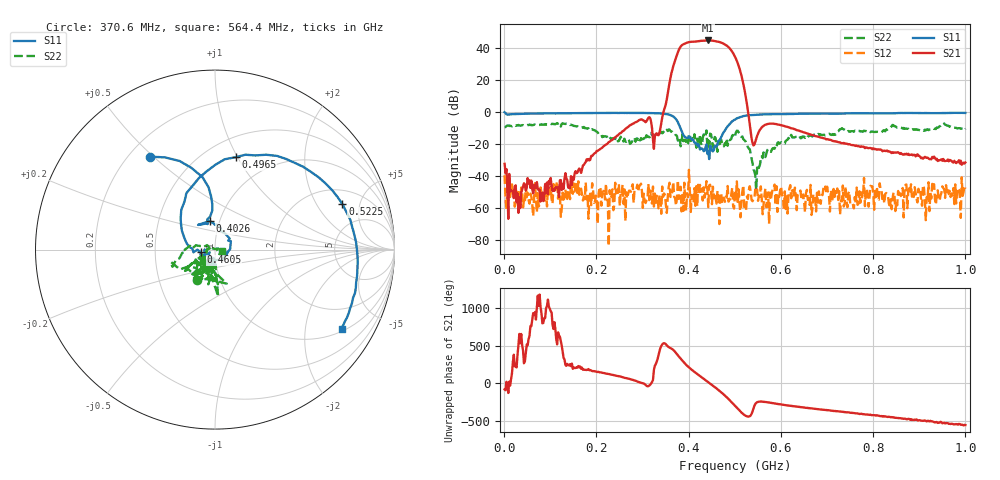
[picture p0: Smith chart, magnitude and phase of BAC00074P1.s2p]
!measured: 2026-10-27T15:26:47
!cal_instance: BBtestOct27
!cal_created: 2026-10-27T14:45
!cal_file: BBtesting.cal
!port1_delay_ps: -58.63
!port2_delay_ps: -59.31
!host: dhcp-10-250-247-203.harvard.edu
! Created with skrf 2.1.0 (http://scikit-rf.org).
# Hz S RI R 50.0
!freq ReS11 ImS11 ReS21 ImS21 ReS12 ImS12 ReS22 ImS22
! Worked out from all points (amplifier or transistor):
!   501 points, 1 MHz to 1 GHz, reference 50 ohm
!   highest |S21| = 44.7 dB at 442.6 MHz (marker M1)
!   |S21| within 3 dB of that: 385.3 MHz to 481.4 MHz (96.05 MHz wide, 22.2 % of centre)
!   unconditionally stable (mu >= 1): start of sweep to 376.5 MHz; 401.8 MHz to 424.5 MHz; 447 MHz to end of sweep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
!   at 166.8 MHz: K = 1667.98, MAG = -30.3 dB, |S12| = -48.1 dB
!   at 500.5 MHz: K = 1.83, MAG = 36.5 dB, |S12| = -49.2 dB
!   at 1 GHz: K = 667.91, MAG = -23.1 dB, |S12| = -48.1 dB
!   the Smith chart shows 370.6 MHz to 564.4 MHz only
!   S11 on the Smith chart (normalised r, x): 370.6 MHz: 0.28, +0.49; 402.6 MHz: 0.90, +0.29; 460.5 MHz: 0.85, -0.03; 496.5 MHz: 0.69, +0.98; 522.5 MHz: 2.91, +3.42; 564.4 MHz: 1.09, -3.13
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1000000  -0.3523 0.9044  0.0043 -0.0232  0.00241 0.0101  0.331 -0.00152
1.68832e8  0.4971 -0.7595  -0.0136 -0.00786  0.00202 0.00148  -0.031 -0.3231
3.34666e8  -0.8361 -0.3351  0.1776 0.0504  -0.00041 -0.000853  0.0283 -0.2083
3.7063e8  -0.3643 0.5179  19.35 35.97  -0.00156 -0.0012  -0.1022 -0.1674
3.84616e8  -0.0148 0.2512  86.22 -82.21  0.000715 -0.000263  -0.0919 -0.0488
3.92608e8  -0.043 0.1521  -20.54 -137.1  -7.51e-05 0.00138  -0.102 -0.0633
4.02598e8  -0.0293 0.1595  -141.2 -60.93  0.00292 0.00144  -0.1333 -0.1453
4.12588e8  0.0328 0.1034  -140.7 70.09  -0.00393 0.00109  -0.0373 -0.1937
4.24576e8  0.0592 -0.0294  -23.26 164  0.000197 -0.00514  0.0165 -0.1933
4.42558e8  -0.0376 -0.0389  164.3 49.08  -0.000546 -0.000879  -0.0814 -0.1
4.5055e8  -0.0573 -0.0237  159.1 -58.29  0.00105 -0.000726  -0.0631 -0.1239
4.6054e8  -0.0793 -0.0154  61.79 -148.2  -0.00021 -0.00132  -0.0161 -0.0819
4.68532e8  -0.1399 0.0122  -44.76 -143.5  -0.0027 -6.32e-05  -0.0362 -0.1242
4.78522e8  -0.1914 0.1749  -121.6 -41.93  -0.00148 -0.000329  -0.0191 -0.1023
4.88512e8  -0.0894 0.3989  -74.88 64.35  -0.000408 -0.00186  -0.0536 -0.118
4.96504e8  0.1148 0.5147  1.91 68.17  0.000593 -0.000928  -0.1475 -0.1098
5.005e8  0.2238 0.5246  24.7 46.8  0.000994 -0.00333  -0.1461 -0.093
5.22478e8  0.7099 0.2534  1.465 -3.542  -0.0009 -0.000627  -0.1237 0.00856
5.64436e8  0.7053 -0.4418  -0.1574 0.3471  -0.00215 0.0012  0.0404 -0.0102
6.68332e8  0.0635 -0.8776  0.1687 0.0792  -0.000823 -0.000393  0.0183 -0.168
8.34166e8  -0.5981 -0.6652  0.00544 -0.0574  9.81e-05 0.00136  -0.1805 -0.2331
1e9  -0.8905 -0.2399  -0.0251 0.00657  -0.00248 -0.00305  -0.2494 -0.1629
